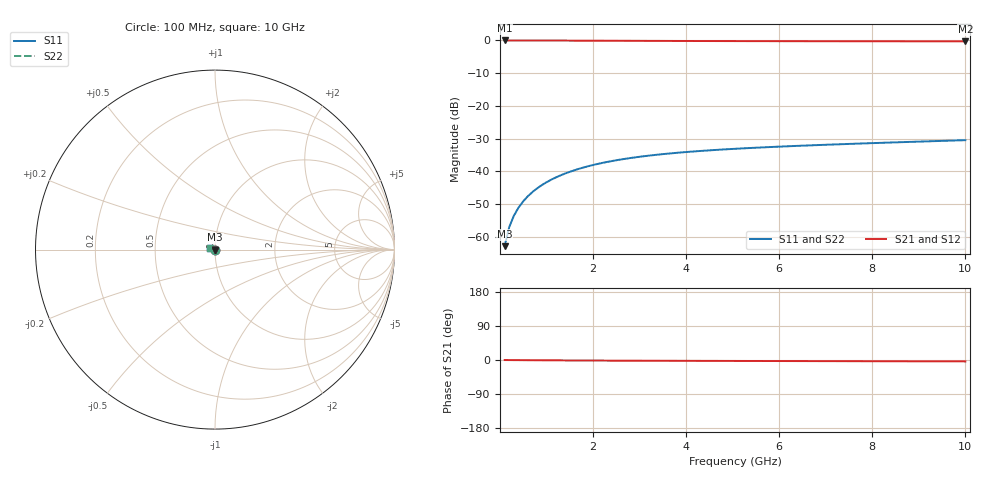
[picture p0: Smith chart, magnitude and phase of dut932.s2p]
! Touchstone file exported from HFSS 2024.1.0
!  File:  C:/UserFiles/LocalFiles/RDL_TSV_Batchsim/temp_TSV1_932_1779947325.aedt
!  Generated:  01:54:20 PM May 28, 2026
!  Design:  TSV1
!  Project:  temp_TSV1_932_1779947325
!  Setup:  Setup1
!  Solution:  Sweep
! Variables:
!  dtsv = 8.56um
!  hbump = 3um
!  htsv = 54.21um
!  lrdl = 252.1521522um
!  p = 40
!  p1 = 51.07um
!  t = 500um
!  trdl = 3um
!  wrdl = 24.89489489um
# GHz S MA R 50.000000
! Terminal data exported
! Port[1] = TSV22_T1
! Port[2] = TSV22_T2
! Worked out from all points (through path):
!   100 points, 100 MHz to 10 GHz, reference 50 ohm
!   highest |S21| = 0.00 dB at 100 MHz (marker M1); lowest = -0.3 dB at 10 GHz (marker M2)
!   lowest |S11| = -62.8 dB at 100 MHz (marker M3), VSWR 1.00, Z = 50 - j0.0709 ohm
!   |S11| at or under -10 dB: start of sweep to end of sweep
!   |S22| runs from -62.8 to -30.5 dB; largest |S21 - S12| = 3.6e-15
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0.1  0.0007216 -79.3  0.9998 -0.1  0.9998 -0.1  0.0007216 -79.3
! Gamma 0 0 0 0
! Port Impedance 50 0 50 0
0.2  0.001415 -87.7  0.9997 -0.2  0.9997 -0.2  0.001415 -87.7
0.3  0.002112 -91.9  0.9996 -0.3  0.9996 -0.3  0.002112 -91.9
0.4  0.002807 -95.0  0.9994 -0.3  0.9994 -0.3  0.002807 -95.0
0.5  0.003497 -97.7  0.9992 -0.4  0.9992 -0.4  0.003497 -97.7
0.6  0.004181 -100.2  0.9989 -0.5  0.9989 -0.5  0.004181 -100.2
0.7  0.004858 -102.5  0.9985 -0.6  0.9985 -0.6  0.004857 -102.5
0.8  0.005525 -104.7  0.9982 -0.7  0.9982 -0.7  0.005525 -104.7
0.9  0.006183 -106.8  0.9978 -0.7  0.9978 -0.7  0.006183 -106.8
1.1  0.007463 -110.9  0.9969 -0.9  0.9969 -0.9  0.007463 -110.9
1.4  0.009285 -116.7  0.9953 -1.1  0.9953 -1.1  0.009285 -116.7
1.6  0.01043 -120.4  0.9942 -1.2  0.9942 -1.2  0.01043 -120.4
1.8  0.01151 -123.9  0.993 -1.3  0.993 -1.3  0.01151 -123.9
2.1  0.01301 -128.9  0.9913 -1.5  0.9913 -1.5  0.01301 -128.9
2.5  0.0148 -135.2  0.9889 -1.7  0.9889 -1.7  0.0148 -135.2
2.9  0.01637 -140.9  0.9867 -1.8  0.9867 -1.8  0.01637 -140.9
3.4  0.01806 -147.5  0.9841 -2.0  0.9841 -2.0  0.01806 -147.5
4.2  0.02027 -156.7  0.9806 -2.3  0.9806 -2.3  0.02027 -156.7
5.1  0.02224 -165.6  0.9775 -2.5  0.9775 -2.5  0.02224 -165.6
6.7  0.02505 -178.4  0.9736 -2.9  0.9736 -2.9  0.02505 -178.4
8.4  0.02763 170.7  0.9709 -3.3  0.9709 -3.3  0.02763 170.7
10  0.03001 162.2  0.9692 -3.7  0.9692 -3.7  0.03001 162.2
